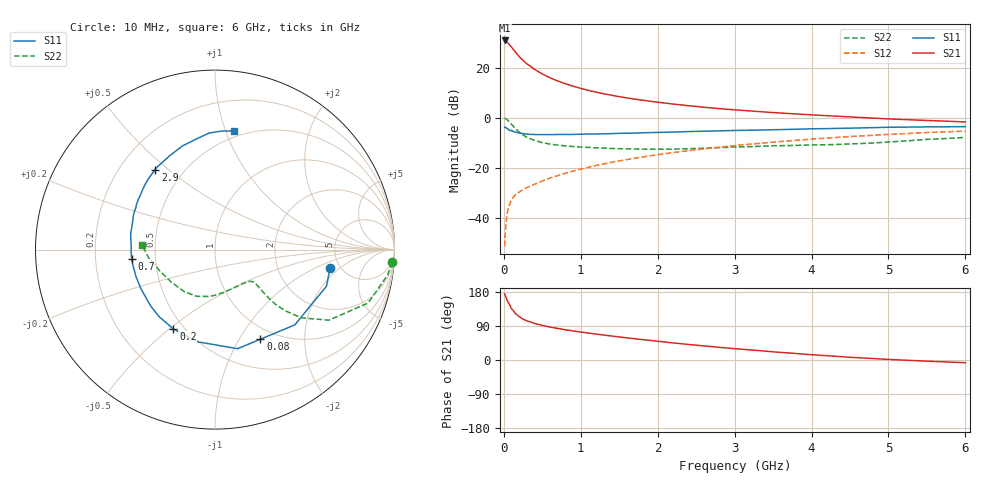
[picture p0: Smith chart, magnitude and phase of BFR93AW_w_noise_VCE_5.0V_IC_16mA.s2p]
! Infineon Technologies  Discrete & RF Semiconductors
! BFR93AW
! VCE =  5.0 V,  IC =  16 mA
! Common Emitter S-Parameters:  Jan 2017
# GHz  S  MA  R  50
!  f  S11  S21  S12  S22
! GHz  MAG  ANG  MAG  ANG  MAG  ANG  MAG  ANG
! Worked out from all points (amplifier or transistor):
!   77 points, 10 MHz to 6 GHz, reference 50 ohm
!   highest |S21| = 30.8 dB at 10 MHz (marker M1)
!   |S21| within 3 dB of that: start of sweep to 109.5 MHz
!   unconditionally stable (mu >= 1): 738.7 MHz to 2.074 GHz
!   at 130 MHz: K = 0.39, MSG = 29.2 dB, |S12| = -31.3 dB
!   at 2.2 GHz: K = 0.99, MSG = 9.7 dB, |S12| = -13.8 dB
!   at 6 GHz: K = 0.87, MSG = 1.8 dB, |S12| = -5.2 dB
!   lowest NFmin = 1.41 dB at 450 MHz
!   S11 on the Smith chart (normalised r, x): 10 MHz: 4.14, -1.48; 80 MHz: 0.85, -1.24; 200 MHz: 0.44, -0.52; 700 MHz: 0.36, -0.05; 2.9 GHz: 0.35, +0.45; 6 GHz: 0.45, +1.07
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0.01  0.6491 -9.2  34.71 174.3  0.0028 80.6  0.9883 -4.1
0.02  0.6538 -18.1  34.56 169.2  0.0056 88.7  0.9727 -8.3
0.05  0.6114 -43.3  31.68 154.2  0.0141 72.9  0.9027 -19.3
0.08  0.5596 -63.1  27.69 143.8  0.0197 65.0  0.8043 -26.2
0.1  0.5663 -77.2  25.65 135.3  0.0236 61.9  0.7466 -31.8
0.15  0.5227 -100.8  20.41 122.7  0.0296 57.0  0.6127 -38.3
0.2  0.4993 -117.7  16.61 114.1  0.0334 55.1  0.5212 -41.0
0.25  0.4864 -130.0  13.9 107.8  0.0376 55.0  0.4576 -42.1
0.3  0.476 -139.2  11.87 103.3  0.0411 55.4  0.4106 -42.1
0.4  0.4668 -152.1  9.205 96.3  0.0477 58.7  0.3548 -41.4
0.5  0.4651 -161.3  7.463 91.2  0.0555 60.3  0.3219 -40.5
0.6  0.465 -168.4  6.293 86.9  0.0635 62.0  0.3012 -40.1
0.7  0.4674 -173.9  5.426 83.3  0.0707 64.2  0.2868 -40.0
0.9  0.4681 176.7  4.261 76.7  0.0871 66.0  0.2691 -41.2
1.1  0.4779 169.2  3.532 71.1  0.104 66.5  0.2582 -43.7
1.5  0.4923 157.5  2.643 60.9  0.1389 66.5  0.2436 -51.8
2.1  0.5175 142.8  1.965 47.3  0.1944 63.9  0.238 -69.3
2.9  0.5565 126.7  1.487 31.7  0.2704 58.0  0.2595 -94.6
3.1  0.5647 122.9  1.409 28.3  0.2898 56.1  0.2653 -100.4
4.1  0.6086 105.7  1.126 12.6  0.3868 46.3  0.2907 -129.5
5.1  0.6524 91.5  0.94 0.6  0.4769 35.0  0.3379 -162.5
6  0.6698 80.8  0.831 -7.2  0.5468 24.6  0.4084 176.2
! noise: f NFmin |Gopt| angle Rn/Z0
0.45  1.41  0.12  146  0.13
0.9  1.69  0.23  168  0.14
1.9  2.69  0.47  -141  0.21
2.4  3.31  0.54  -127  0.41
